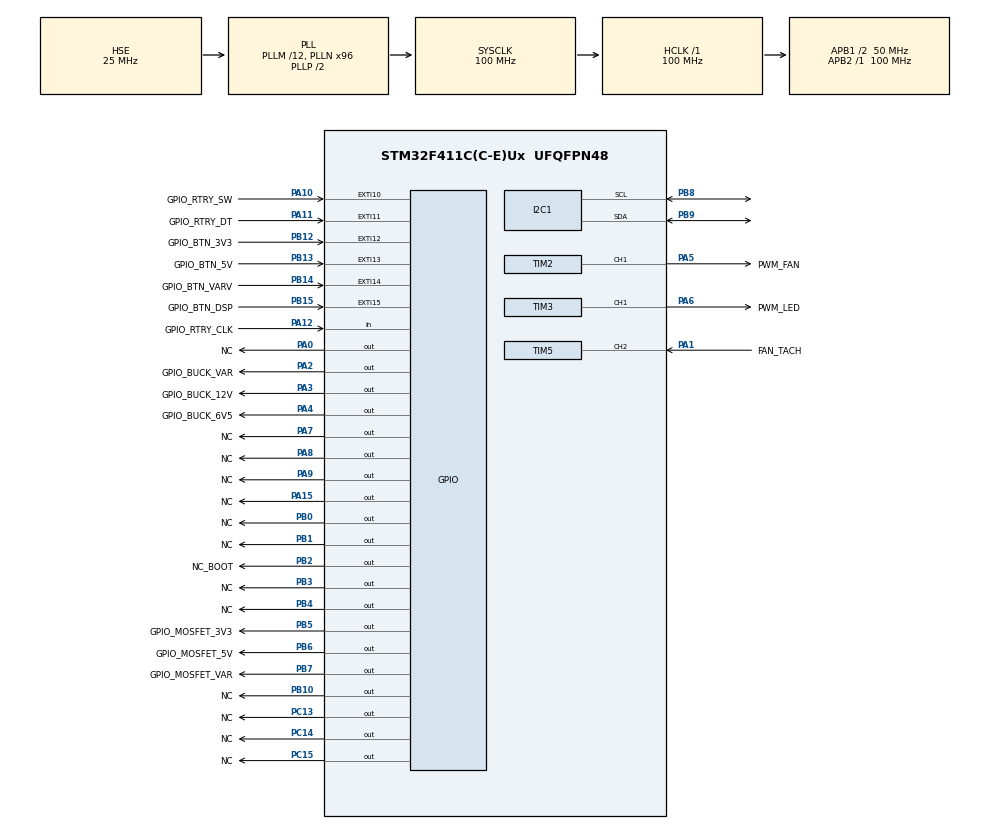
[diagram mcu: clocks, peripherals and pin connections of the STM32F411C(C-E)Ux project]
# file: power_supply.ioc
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Dma.Request0=TIM3_CH1/TRIG
Dma.TIM3_CH1/TRIG.0.Direction=DMA_MEMORY_TO_PERIPH
Dma.TIM3_CH1/TRIG.0.FIFOMode=DMA_FIFOMODE_DISABLE
Dma.TIM3_CH1/TRIG.0.Instance=DMA1_Stream4
Dma.TIM3_CH1/TRIG.0.MemDataAlignment=DMA_MDATAALIGN_HALFWORD
Dma.TIM3_CH1/TRIG.0.MemInc=DMA_MINC_ENABLE
Dma.TIM3_CH1/TRIG.0.Mode=DMA_NORMAL
Dma.TIM3_CH1/TRIG.0.PeriphDataAlignment=DMA_PDATAALIGN_HALFWORD
Dma.TIM3_CH1/TRIG.0.PeriphInc=DMA_PINC_DISABLE
Dma.TIM3_CH1/TRIG.0.Priority=DMA_PRIORITY_LOW
I2C1.I2C_Mode=I2C_Standard
Mcu.Family=STM32F4
Mcu.Name=STM32F411C(C-E)Ux
Mcu.Package=UFQFPN48
NVIC.DMA1_Stream4_IRQn=true\:0\:0\:false\:false\:true\:false\:true\:true
NVIC.EXTI15_10_IRQn=true\:0\:0\:false\:false\:true\:true\:true\:true
NVIC.PriorityGroup=NVIC_PRIORITYGROUP_4
NVIC.TIM2_IRQn=true\:0\:0\:false\:false\:true\:true\:true\:true
NVIC.TIM5_IRQn=true\:0\:0\:false\:false\:true\:true\:true\:true
PA0-WKUP.GPIO_Label=NC
PA0-WKUP.GPIO_PuPd=GPIO_PULLDOWN
PA0-WKUP.Signal=GPIO_Output
PA1.GPIO_Label=FAN_TACH
PA1.Signal=S_TIM5_CH2
PA10.GPIO_Label=GPIO_RTRY_SW
PA10.GPIO_PuPd=GPIO_PULLUP
PA10.Signal=GPXTI10
PA11.GPIO_Label=GPIO_RTRY_DT
PA11.GPIO_PuPd=GPIO_PULLUP
PA11.Signal=GPXTI11
PA12.GPIO_Label=GPIO_RTRY_CLK
PA12.GPIO_PuPd=GPIO_PULLUP
PA12.Signal=GPIO_Input
PA13.Mode=Serial_Wire
PA13.Signal=SYS_JTMS-SWDIO
PA14.Mode=Serial_Wire
PA14.Signal=SYS_JTCK-SWCLK
PA15.GPIO_Label=NC
PA15.GPIO_PuPd=GPIO_PULLDOWN
PA15.Signal=GPIO_Output
PA2.GPIO_Label=GPIO_BUCK_VAR
PA2.GPIO_PuPd=GPIO_PULLUP
PA2.Signal=GPIO_Output
PA3.GPIO_Label=GPIO_BUCK_12V
PA3.GPIO_PuPd=GPIO_PULLUP
PA3.Signal=GPIO_Output
PA4.GPIO_Label=GPIO_BUCK_6V5
PA4.GPIO_PuPd=GPIO_PULLUP
PA4.Signal=GPIO_Output
PA5.GPIO_Label=PWM_FAN
PA5.Signal=S_TIM2_CH1_ETR
PA6.GPIO_Label=PWM_LED
PA6.Signal=S_TIM3_CH1
PA7.GPIO_Label=NC
PA7.GPIO_PuPd=GPIO_PULLDOWN
PA7.Signal=GPIO_Output
PA8.GPIO_Label=NC
PA8.GPIO_PuPd=GPIO_PULLDOWN
PA8.Signal=GPIO_Output
PA9.GPIO_Label=NC
PA9.GPIO_PuPd=GPIO_PULLDOWN
PA9.Signal=GPIO_Output
PB0.GPIO_Label=NC
PB0.GPIO_PuPd=GPIO_PULLDOWN
PB0.Signal=GPIO_Output
PB1.GPIO_Label=NC
PB1.GPIO_PuPd=GPIO_PULLDOWN
PB1.Signal=GPIO_Output
PB10.GPIO_Label=NC
PB10.GPIO_PuPd=GPIO_PULLDOWN
PB10.Signal=GPIO_Output
PB12.GPIO_Label=GPIO_BTN_3V3
PB12.GPIO_ModeDefaultEXTI=GPIO_MODE_IT_FALLING
PB12.GPIO_PuPd=GPIO_PULLUP
PB12.Signal=GPXTI12
PB13.GPIO_Label=GPIO_BTN_5V
PB13.GPIO_ModeDefaultEXTI=GPIO_MODE_IT_FALLING
PB13.GPIO_PuPd=GPIO_PULLUP
PB13.Signal=GPXTI13
PB14.GPIO_Label=GPIO_BTN_VARV
PB14.GPIO_ModeDefaultEXTI=GPIO_MODE_IT_FALLING
PB14.GPIO_PuPd=GPIO_PULLUP
PB14.Signal=GPXTI14
PB15.GPIO_Label=GPIO_BTN_DSP
PB15.GPIO_ModeDefaultEXTI=GPIO_MODE_IT_FALLING
PB15.GPIO_PuPd=GPIO_PULLUP
PB15.Signal=GPXTI15
PB2.GPIO_Label=NC_BOOT
PB2.GPIO_PuPd=GPIO_PULLDOWN
PB2.Signal=GPIO_Output
PB3.GPIO_Label=NC
PB3.GPIO_PuPd=GPIO_PULLDOWN
PB3.Signal=GPIO_Output
PB4.GPIO_Label=NC
PB4.GPIO_PuPd=GPIO_PULLDOWN
PB4.Signal=GPIO_Output
PB5.GPIO_Label=GPIO_MOSFET_3V3
PB5.GPIO_PuPd=GPIO_PULLDOWN
PB5.Signal=GPIO_Output
PB6.GPIO_Label=GPIO_MOSFET_5V
PB6.GPIO_PuPd=GPIO_PULLDOWN
PB6.Signal=GPIO_Output
PB7.GPIO_Label=GPIO_MOSFET_VAR
PB7.GPIO_PuPd=GPIO_PULLDOWN
PB7.Signal=GPIO_Output
PB8.GPIO_Pu=GPIO_NOPULL
PB8.GPIO_Speed=GPIO_SPEED_FREQ_MEDIUM
PB8.Mode=I2C
PB8.Signal=I2C1_SCL
PB9.GPIO_Pu=GPIO_NOPULL
PB9.GPIO_Speed=GPIO_SPEED_FREQ_MEDIUM
PB9.Mode=I2C
PB9.Signal=I2C1_SDA
PC13-ANTI_TAMP.GPIO_Label=NC
PC13-ANTI_TAMP.GPIO_PuPd=GPIO_PULLDOWN
PC13-ANTI_TAMP.Signal=GPIO_Output
PC14-OSC32_IN.GPIO_Label=NC
PC14-OSC32_IN.GPIO_PuPd=GPIO_PULLDOWN
PC14-OSC32_IN.Signal=GPIO_Output
PC15-OSC32_OUT.GPIO_Label=NC
PC15-OSC32_OUT.GPIO_PuPd=GPIO_PULLDOWN
PC15-OSC32_OUT.Signal=GPIO_Output
PH0\ -\ OSC_IN.Mode=HSE-External-Oscillator
PH0\ -\ OSC_IN.Signal=RCC_OSC_IN
PH1\ -\ OSC_OUT.Mode=HSE-External-Oscillator
PH1\ -\ OSC_OUT.Signal=RCC_OSC_OUT
ProjectManager.HeapSize=0x200
ProjectManager.StackSize=0x400
ProjectManager.TargetToolchain=CMake
RCC.48MHZClocksFreq_Value=50000000
RCC.AHBFreq_Value=100000000
RCC.APB1CLKDivider=RCC_HCLK_DIV2
RCC.APB1Freq_Value=50000000
RCC.APB1TimFreq_Value=100000000
RCC.APB2Freq_Value=100000000
RCC.APB2TimFreq_Value=100000000
RCC.CortexFreq_Value=100000000
RCC.HCLKFreq_Value=100000000
RCC.HSE_VALUE=25000000
RCC.HSI_VALUE=16000000
RCC.LSE_VALUE=32768
RCC.PLLM=12
RCC.PLLN=96
RCC.PLLSourceVirtual=RCC_PLLSOURCE_HSE
RCC.SYSCLKFreq_VALUE=100000000
RCC.SYSCLKSource=RCC_SYSCLKSOURCE_PLLCLK
RCC.VCOOutputFreq_Value=200000000
SH.S_TIM2_CH1_ETR.0=TIM2_CH1,PWM Generation1 CH1
SH.S_TIM3_CH1.0=TIM3_CH1,PWM Generation1 CH1
SH.S_TIM5_CH2.0=TIM5_CH2,Input_Capture2_from_TI2
TIM2.Channel-PWM\ Generation1\ CH1=TIM_CHANNEL_1
TIM2.Period=3999
TIM3.Channel-PWM\ Generation1\ CH1=TIM_CHANNEL_1
TIM3.Period=124
TIM5.Channel-Input_Capture2_from_TI2=TIM_CHANNEL_2
TIM5.ICFilter_CH2=8
TIM5.Prescaler=49
VP_TIM1_VS_ClockSourceINT.Mode=Internal
VP_TIM2_VS_ClockSourceINT.Mode=Internal
VP_TIM5_VS_ClockSourceINT.Mode=Internal
board=custom

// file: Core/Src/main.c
/* USER CODE BEGIN Header */
/**
 ******************************************************************************
 * @file           : main.c
 * @brief          : Main program body
 ******************************************************************************
 * @attention
 *
 * Copyright (c) 2026 STMicroelectronics.
 * All rights reserved.
 *
 * This software is licensed under terms that can be found in the LICENSE file
 * in the root directory of this software component.
 * If no LICENSE file comes with this software, it is provided AS-IS.
 *
 ******************************************************************************
 */
/* USER CODE END Header */
#include "main.h"
#include "dma.h"
#include "i2c.h"
#include "tim.h"
#include "gpio.h"

/* USER CODE BEGIN Includes */
#include "SEGGER_RTT.h"
#include "app.h"
#include "power_controller.h"
#include <stdint.h>
#include <stdio.h>
#include "tests.h"
#include "common.h"
#include "temperature_controller.h"
/* USER CODE END Includes */

/* USER CODE BEGIN PV */

static App_t app;

void I2C_ResetBus(void);

/* USER CODE END PV */

void SystemClock_Config(void);

/* USER CODE BEGIN 0 */
int _write(int file, char *ptr, int len)
{
    SEGGER_RTT_Write(0, ptr, len);
    return len;
}

/* USER CODE END 0 */

int main(void)
{

  /* MCU Configuration--------------------------------------------------------*/

  /* Reset of all peripherals, Initializes the Flash interface and the Systick. */
  HAL_Init();

  /* Configure the system clock */
  SystemClock_Config();

  /* Initialize all configured peripherals */
  MX_GPIO_Init();
  MX_DMA_Init();
  MX_TIM3_Init();
  MX_TIM2_Init();
  MX_TIM5_Init();
  MX_I2C1_Init();
  MX_TIM1_Init();
  /* USER CODE BEGIN 2 */
    SEGGER_RTT_Init();

    app.state = APP_STATE_INIT;
    App_Init(&app, &hi2c1);

    // Test_Power(&app);
    // Test_Temperature(&app);
    // Test_Display(&app);

  /* USER CODE END 2 */

  /* Infinite loop */
    while (1) {

    /* USER CODE BEGIN 3 */

        // App_Run(&app);
    }
  /* USER CODE END 3 */
}

void SystemClock_Config(void)
{
  RCC_OscInitTypeDef RCC_OscInitStruct = {0};
  RCC_ClkInitTypeDef RCC_ClkInitStruct = {0};

  /** Configure the main internal regulator output voltage
  */
  __HAL_RCC_PWR_CLK_ENABLE();
  __HAL_PWR_VOLTAGESCALING_CONFIG(PWR_REGULATOR_VOLTAGE_SCALE1);

  /** Initializes the RCC Oscillators according to the specified parameters
  * in the RCC_OscInitTypeDef structure.
  */
  RCC_OscInitStruct.OscillatorType = RCC_OSCILLATORTYPE_HSE;
  RCC_OscInitStruct.HSEState = RCC_HSE_ON;
  RCC_OscInitStruct.PLL.PLLState = RCC_PLL_ON;
  RCC_OscInitStruct.PLL.PLLSource = RCC_PLLSOURCE_HSE;
  RCC_OscInitStruct.PLL.PLLM = 12;
  RCC_OscInitStruct.PLL.PLLN = 96;
  RCC_OscInitStruct.PLL.PLLP = RCC_PLLP_DIV2;
  RCC_OscInitStruct.PLL.PLLQ = 4;
  if (HAL_RCC_OscConfig(&RCC_OscInitStruct) != HAL_OK)
  {
    Error_Handler();
  }

  /** Initializes the CPU, AHB and APB buses clocks
  */
  RCC_ClkInitStruct.ClockType = RCC_CLOCKTYPE_HCLK|RCC_CLOCKTYPE_SYSCLK
                              |RCC_CLOCKTYPE_PCLK1|RCC_CLOCKTYPE_PCLK2;
  RCC_ClkInitStruct.SYSCLKSource = RCC_SYSCLKSOURCE_PLLCLK;
  RCC_ClkInitStruct.AHBCLKDivider = RCC_SYSCLK_DIV1;
  RCC_ClkInitStruct.APB1CLKDivider = RCC_HCLK_DIV2;
  RCC_ClkInitStruct.APB2CLKDivider = RCC_HCLK_DIV1;

  if (HAL_RCC_ClockConfig(&RCC_ClkInitStruct, FLASH_LATENCY_3) != HAL_OK)
  {
    Error_Handler();
  }
}

/* USER CODE BEGIN 4 */
void HAL_TIM_IC_CaptureCallback(TIM_HandleTypeDef *htim)
{
    // TODO: issue #28: set flag and handle logic outside of interrupt
    Temp_Ctrl_t *ctrl = &app.temperature_controller;
    if (htim->Instance == TIM5 && htim->Channel == HAL_TIM_ACTIVE_CHANNEL_2) {
        ctrl->fan.value_cur = HAL_TIM_ReadCapturedValue(htim, TIM_CHANNEL_2);
        ctrl->fan.last_tick = HAL_GetTick();

        if (!ctrl->fan.first_cb) {
            if (ctrl->fan.value_cur >= ctrl->fan.value_last) {
                ctrl->fan.value_diff = ctrl->fan.value_cur - ctrl->fan.value_last;
            } else {
                ctrl->fan.value_diff =
                    (0xFFFFFFFF - ctrl->fan.value_last) + ctrl->fan.value_cur + 1;
            }

            if (ctrl->fan.value_diff > 0) {
                ctrl->fan.rpm = 30000000.0f / (float)ctrl->fan.value_diff;
            }
        }

        ctrl->fan.value_last = ctrl->fan.value_cur;
        ctrl->fan.first_cb = 0;
    }
}

void HAL_TIM_PWM_PulseFinishedCallback(TIM_HandleTypeDef *htim)
{
    if (htim->Instance == TIM2)
        HAL_TIM_PWM_Stop_DMA(htim, TIM_CHANNEL_2);
}

void HAL_GPIO_EXTI_Callback(uint16_t GPIO_Pin)
{
    // static uint32_t last_press_rotary = 0;
    static uint32_t last_press_3v3 = 0;
    static uint32_t last_press_5v = 0;
    static uint32_t last_press_var = 0;
    static uint32_t last_press_menu = 0;
    uint32_t now = HAL_GetTick();

    switch (GPIO_Pin) {

    case GPIO_BTN_VARV_Pin:
    {
        // TODO: issue #30: adjust debounce time to get buttons to stable toggle
        if (now - last_press_var < 75) {
            return;
        }
        last_press_var = now;
        app.power_controller.channels[PWR_CHAN_VARV].toggle_pending = true;
        printf("GPIO_BTN_VAR\r\n\n");
        break;
    }

    case GPIO_BTN_5V_Pin:
    {
        if (now - last_press_5v < 75) {
            return;
        }
        last_press_5v = now;
        app.power_controller.channels[PWR_CHAN_5V].toggle_pending = true;
        printf("GPIO_BTN_5V\r\n\n");
        break;
    }

    case GPIO_BTN_3V3_Pin:
    {
        if (now - last_press_3v3 < 75) {
            return;
        }
        last_press_3v3 = now;
        app.power_controller.channels[PWR_CHAN_3V3].toggle_pending = true;
        printf("GPIO_BTN_3V3\r\n\n");
        break;
    }

    case GPIO_BTN_DSP_Pin:
    {
        if (now - last_press_menu < 75) {
            return;
        }
        last_press_menu = now;
        printf("GPIO_BTN_DSP\r\n\n");
        break;
    }

        // case RTRY_SW_Pin:
        //     if (now - last_press_rotary < 50)
        //         return;
        //     last_press_rotary = now;
        //     app.power_controller->chan_var->rotary.pressed = true;
        //     break;

        // case BTN_DSP_MENU_Pin:
        // {
        // TODO: update display to show menu
        // rotary now becomes control
        // }
    }
}

void I2C_ResetBus(void)
{
    GPIO_InitTypeDef GPIO_InitStruct = { 0 };

    __HAL_RCC_GPIOB_CLK_ENABLE();

    GPIO_InitStruct.Pin = GPIO_PIN_8;
    GPIO_InitStruct.Mode = GPIO_MODE_OUTPUT_OD;
    GPIO_InitStruct.Pull = GPIO_NOPULL;
    GPIO_InitStruct.Speed = GPIO_SPEED_FREQ_VERY_HIGH;
    HAL_GPIO_Init(GPIOB, &GPIO_InitStruct);

    GPIO_InitStruct.Pin = GPIO_PIN_9;
    GPIO_InitStruct.Mode = GPIO_MODE_INPUT;
    HAL_GPIO_Init(GPIOB, &GPIO_InitStruct);

    for (int i = 0; i < 9; i++) {
        HAL_GPIO_WritePin(GPIOB, GPIO_PIN_8, GPIO_PIN_SET);
        HAL_Delay(5); // Slow toggle (approx 100kHz)
        HAL_GPIO_WritePin(GPIOB, GPIO_PIN_8, GPIO_PIN_RESET);
        HAL_Delay(5);
    }

    HAL_GPIO_WritePin(GPIOB, GPIO_PIN_8, GPIO_PIN_RESET);
    HAL_GPIO_WritePin(GPIOB, GPIO_PIN_9, GPIO_PIN_RESET);

    GPIO_InitStruct.Pin = GPIO_PIN_9;
    GPIO_InitStruct.Mode = GPIO_MODE_OUTPUT_OD;
    HAL_GPIO_Init(GPIOB, &GPIO_InitStruct);

    HAL_Delay(5);
    HAL_GPIO_WritePin(GPIOB, GPIO_PIN_8, GPIO_PIN_SET); // SCL High
    HAL_Delay(5);
    HAL_GPIO_WritePin(GPIOB, GPIO_PIN_9, GPIO_PIN_SET); // SDA High (STOP condition)
    HAL_Delay(5);
}
/* USER CODE END 4 */

void Error_Handler(void)
{
    __disable_irq();
    while (1) { }
}
